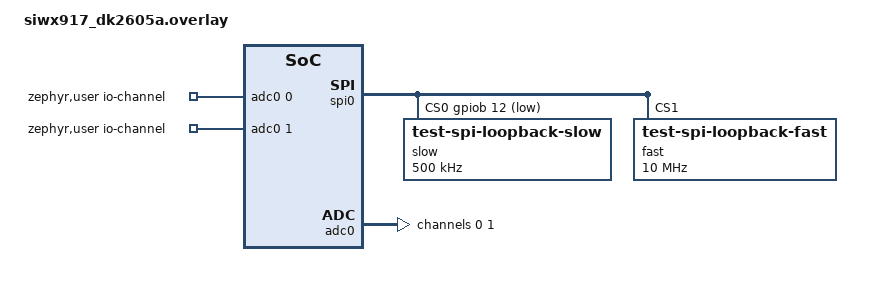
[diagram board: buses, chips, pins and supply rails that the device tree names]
/*
 * Copyright (c) 2025 Silicon Laboratories Inc.
 *
 * SPDX-License-Identifier: Apache-2.0
 */
&dma0 {
	status = "okay";
};

tst_dma0: &dma0 {};

tst_dma0: &dma0 {
	status = "okay";
};

&pinctrl0 {
	spi0_default: spi0_default {
		out {
			pinmux = <GSPI_CLK_HP25>, <GSPI_MOSI_HP27>;
		};
		in {
			pinmux = <GSPI_MISO_HP26>;
		};
	};
};

&spi0 {
	status = "okay";
	cs-gpios = <&gpiob 12 GPIO_ACTIVE_LOW>;
	pinctrl-0 = <&spi0_default>;
	pinctrl-names = "default";
	dmas = <&gpdma 0 11>, <&gpdma 1 10>;
	dma-names = "tx", "rx";
	slow@0 {
		compatible = "test-spi-loopback-slow";
		reg = <0>;
		spi-max-frequency = <500000>;
	};
	fast@1 {
		compatible = "test-spi-loopback-fast";
		reg = <1>;
		spi-max-frequency = <10000000>;
	};
};

&gpdma {
	status = "okay";
};

/ {
	zephyr,user {
		io-channels = <&adc0 0>, <&adc0 1>;
	};
};

&pinctrl0 {
	adc0_default: adc0_default {
		group {
			pinmux = <AGPIO_ULP1>, <ADC_TOPGPIO_HP27>;
		};
	};
};

&adc0 {
	pinctrl-0 = <&adc0_default>;
	pinctrl-names = "default";
	silabs,adc-ref-voltage = <3300>;
	channel@0 {
		reg = <0>;
		zephyr,gain = "ADC_GAIN_1";
		zephyr,reference = "ADC_REF_INTERNAL";
		zephyr,acquisition-time = <0>;
		zephyr,resolution = <12>;
		zephyr,input-positive = <10>;
	};
	channel@1 {
		reg = <1>;
		zephyr,gain = "ADC_GAIN_1";
		zephyr,reference = "ADC_REF_INTERNAL";
		zephyr,acquisition-time = <0>;
		zephyr,resolution = <12>;
		zephyr,input-positive = <7>;
	};
	status = "okay";
};
